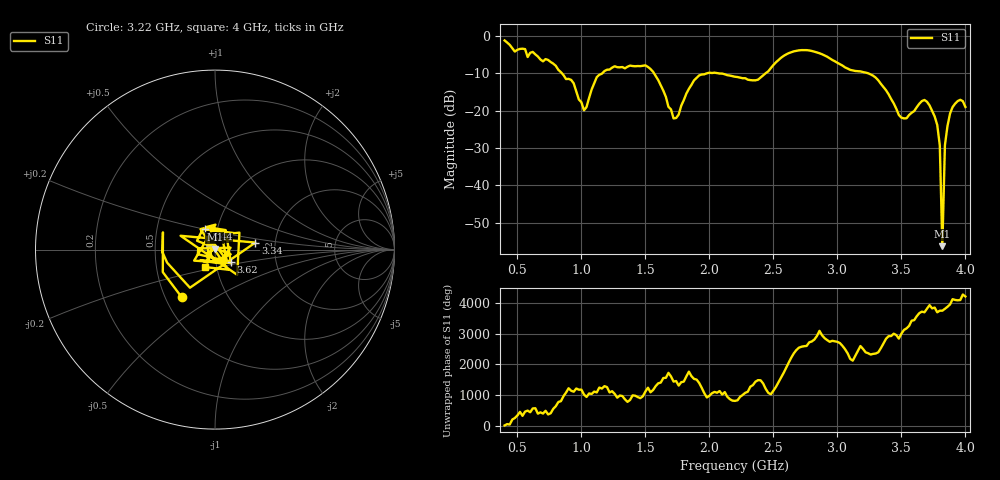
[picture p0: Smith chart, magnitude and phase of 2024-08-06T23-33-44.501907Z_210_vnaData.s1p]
!Created with skrf (http://scikit-rf.org).
# Hz S RI R 50.0
!freq ReS11 ImS11
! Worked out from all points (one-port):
!   181 points, 400 MHz to 4 GHz, reference 50 ohm
!   lowest |S11| = -56.3 dB at 3.82 GHz (marker M1), VSWR 1.00, Z = 49.9 + j0.0979 ohm
!   |S11| at or under -10 dB: 1.567 GHz to 1.98 GHz (412.8 MHz wide, 23.3 % of centre); 2.071 GHz to 2.439 GHz (367.8 MHz wide, 16.3 % of centre); 3.241 GHz to end of sweep (the widest 3 of 4)
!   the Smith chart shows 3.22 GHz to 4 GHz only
!   S11 on the Smith chart (normalised r, x): 3.22 GHz: 0.61, -0.36; 3.34 GHz: 1.57, +0.13; 3.44 GHz: 0.88, +0.20; 3.62 GHz: 1.18, -0.16; 4 GHz: 0.88, -0.17
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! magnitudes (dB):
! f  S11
! 400 MHz  -1.2
! 860 MHz  -10.5
! 940 MHz  -12.7
! 1.02 GHz  -19.9
! 1.12 GHz  -11.0
! 1.3 GHz  -8.4
! 1.52 GHz  -8.3
! 1.72 GHz  -22.1
! 1.76 GHz  -21.0
! 1.92 GHz  -10.6
! 2.2 GHz  -10.9
! 2.38 GHz  -11.7
! 2.66 GHz  -4.1
! 3.1 GHz  -9.1
! 3.22 GHz  -9.8
! 3.34 GHz  -12.8
! 3.44 GHz  -18.0
! 3.5 GHz  -21.9
! 3.56 GHz  -21.2
! 3.62 GHz  -19.1
! 3.7 GHz  -17.6
! 3.78 GHz  -23.8
! 3.8 GHz  -29.3
! 3.82 GHz  -56.3
! 3.84 GHz  -29.3
! 3.86 GHz  -24.1
! 3.92 GHz  -18.1
! 4 GHz  -19.0
